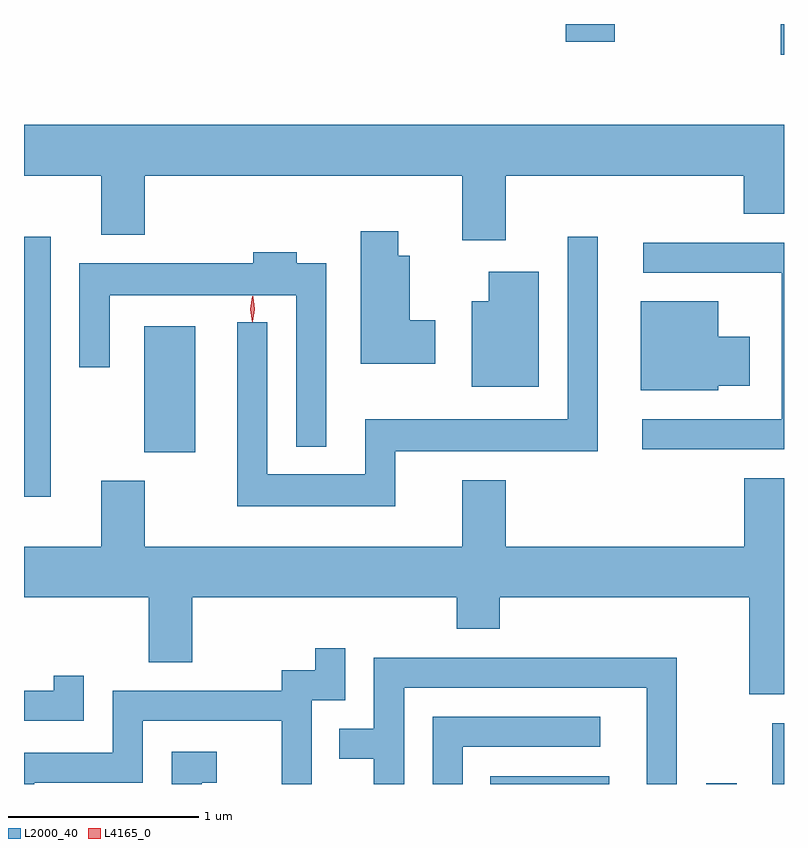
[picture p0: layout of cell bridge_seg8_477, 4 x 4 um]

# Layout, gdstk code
import gdstk
lib = gdstk.Library(unit=1e-6, precision=1e-09)
def R(c, l, rs):  # rectangles x0, y0, x1, y1
    for r in rs: c.add(gdstk.rectangle(r[:2], r[2:], *l))
def P(c, l, *ps):  # polygons
    for p in ps: c.add(gdstk.Polygon(p, *l))
L2000_40 = (2000, 40)
L4165_0 = (4165, 0)

bridge_seg8_477 = lib.new_cell('bridge_seg8_477')
R(bridge_seg8_477, L2000_40, [(503.468,1926.454,504.094,1926.494), (504.606,1926.454,504.764,1926.458), (504.951,1926.454,505.014,1926.774), (501.014,1927.966,501.154,1929.333), (501.646,1928.201,501.914,1928.864), (504.996,1930.291,505.014,1930.454), (503.866,1930.361,504.124,1930.454)])
P(bridge_seg8_477, L2000_40, [(503.549,1929.656),(504.801,1929.656),(504.801,1929.456),(505.014,1929.456),(505.014,1929.924),(501.014,1929.924),(501.014,1929.656),(501.421,1929.656),(501.421,1929.346),(501.649,1929.346),(501.649,1929.656),(503.321,1929.656),(503.321,1929.316),(503.549,1929.316)],
  [(503.179,1928.894),(503.044,1928.894),(503.044,1929.234),(502.984,1929.234),(502.984,1929.364),(502.786,1929.364),(502.786,1928.666),(503.179,1928.666)],
  [(502.969,1928.206),(504.034,1928.206),(504.034,1929.333),(503.876,1929.333),(503.876,1928.374),(502.811,1928.374),(502.811,1928.084),(502.294,1928.084),(502.294,1928.883),(502.136,1928.883),(502.136,1927.916),(502.969,1927.916)],
  [(505.014,1929.304),(504.273,1929.304),(504.273,1929.146),(505.001,1929.146),(505.001,1928.374),(504.268,1928.374),(504.268,1928.216),(505.014,1928.216)],
  [(502.604,1929.194),(502.449,1929.194),(502.449,1929.254),(502.221,1929.254),(502.221,1929.194),(501.306,1929.194),(501.306,1928.648),(501.464,1928.648),(501.464,1929.026),(502.446,1929.026),(502.446,1928.228),(502.604,1928.228)],
  [(503.724,1929.149),(503.461,1929.149),(503.461,1928.994),(503.371,1928.994),(503.371,1928.546),(503.724,1928.546)],
  [(504.669,1928.551),(504.834,1928.551),(504.834,1928.809),(504.669,1928.809),(504.669,1928.994),(504.261,1928.994),(504.261,1928.526),(504.669,1928.526)],
  [(505.014,1928.064),(504.806,1928.064),(504.806,1927.704),(503.549,1927.704),(503.549,1928.054),(503.321,1928.054),(503.321,1927.704),(501.649,1927.704),(501.649,1928.049),(501.421,1928.049),(501.421,1927.704),(501.014,1927.704),(501.014,1927.436),(501.671,1927.436),(501.671,1927.096),(501.899,1927.096),(501.899,1927.436),(503.291,1927.436),(503.291,1927.271),(503.519,1927.271),(503.519,1927.436),(504.831,1927.436),(504.831,1926.926),(505.014,1926.926)],
  [(501.069,1926.461),(501.639,1926.461),(501.639,1926.786),(502.371,1926.786),(502.371,1926.454),(502.529,1926.454),(502.529,1926.896),(502.704,1926.896),(502.704,1927.168),(502.546,1927.168),(502.546,1927.054),(502.371,1927.054),(502.371,1926.944),(501.481,1926.944),(501.481,1926.619),(501.014,1926.619),(501.014,1926.454),(501.069,1926.454)],
  [(503.014,1926.961),(504.291,1926.961),(504.291,1926.454),(504.449,1926.454),(504.449,1927.119),(502.856,1927.119),(502.856,1926.744),(502.673,1926.744),(502.673,1926.586),(502.856,1926.586),(502.856,1926.454),(503.014,1926.454)],
  [(501.329,1927.023),(501.171,1927.023),(501.171,1926.944),(501.014,1926.944),(501.014,1926.786),(501.329,1926.786)],
  [(503.324,1926.651),(504.048,1926.651),(504.048,1926.809),(503.166,1926.809),(503.166,1926.454),(503.324,1926.454)],
  [(501.949,1926.461),(502.028,1926.461),(502.028,1926.624),(501.791,1926.624),(501.791,1926.454),(501.949,1926.454)])
P(bridge_seg8_477, L4165_0, [(502.214,1928.884),(502.206,1928.953),(502.216,1929.021),(502.217,1929.022),(502.218,1929.021),(502.226,1928.953),(502.215,1928.884),(502.215,1928.884)],
  [(502.218,1928.887),(502.218,1928.887),(502.209,1928.953),(502.219,1929.019),(502.22,1929.02),(502.22,1929.019),(502.229,1928.953),(502.219,1928.887)])

lib.write_gds('bridge_seg8_477.gds')
